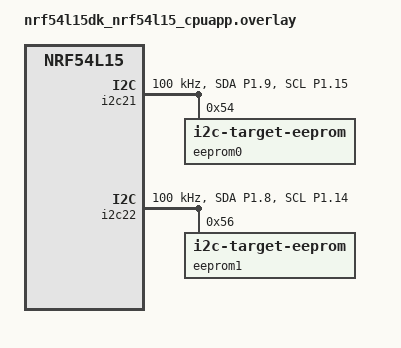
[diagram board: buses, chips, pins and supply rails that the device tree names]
/* SPDX-License-Identifier: Apache-2.0 */

&pinctrl {
	i2c22_default: i2c22_default {
		group1 {
			psels = <NRF_PSEL(TWIM_SDA, 1, 8)>,
				<NRF_PSEL(TWIM_SCL, 1, 14)>;
		};
	};

	i2c22_sleep: i2c22_sleep {
		group1 {
			psels = <NRF_PSEL(TWIM_SDA, 1, 8)>,
				<NRF_PSEL(TWIM_SCL, 1, 14)>;
			low-power-enable;
		};
	};

	i2c21_default: i2c21_default {
		group1 {
			psels = <NRF_PSEL(TWIM_SDA, 1, 9)>,
				<NRF_PSEL(TWIM_SCL, 1, 15)>;
		};
	};

	i2c21_sleep: i2c21_sleep {
		group1 {
			psels = <NRF_PSEL(TWIM_SDA, 1, 9)>,
				<NRF_PSEL(TWIM_SCL, 1, 15)>;
			low-power-enable;
		};
	};
};

&i2c21 {
	status = "okay";
	pinctrl-0 = <&i2c21_default>;
	pinctrl-1 = <&i2c21_sleep>;
	pinctrl-names = "default", "sleep";
	clock-frequency = <I2C_BITRATE_STANDARD>;
	eeprom0: eeprom@54 {
		compatible = "zephyr,i2c-target-eeprom";
		reg = <0x54>;
		size = <1024>;
	};
};

&i2c22 {
	status = "okay";
		pinctrl-0 = <&i2c22_default>;
		pinctrl-1 = <&i2c22_sleep>;
		pinctrl-names = "default", "sleep";
		clock-frequency = <I2C_BITRATE_STANDARD>;
	eeprom1: eeprom@56 {
		compatible = "zephyr,i2c-target-eeprom";
		reg = <0x56>;
		size = <1024>;
	};
};
